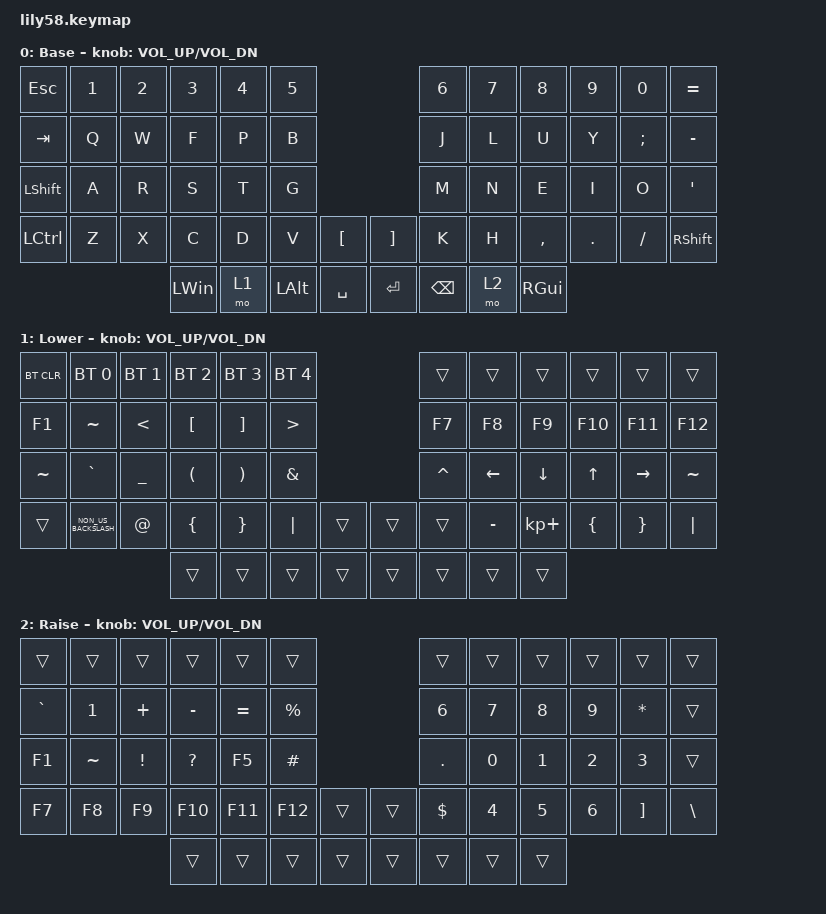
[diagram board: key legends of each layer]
/*
 * Copyright (c) 2020 The ZMK Contributors
 *
 * SPDX-License-Identifier: MIT
 */

#include <behaviors.dtsi>
#include <dt-bindings/zmk/bt.h>
#include <dt-bindings/zmk/keys.h>

/ {
    keymap {
        compatible = "zmk,keymap";

        default_layer {
            // ------------------------------------------------------------------------------------------------------------
            // |  ESC  |  1  |  2  |  3   |  4   |  5   |                   |  6   |  7    |  8    |  9   |   0   |   `   |
            // |  TAB  |  Q  |  W  |  E   |  R   |  T   |                   |  Y   |  U    |  I    |  O   |   P   |   -   |
            // |  CTRL |  A  |  S  |  D   |  F   |  G   |                   |  H   |  J    |  K    |  L   |   ;   |   '   |
            // | SHIFT |  Z  |  X  |  C   |  V   |  B   |   "["  |  |  "]"  |  N   |  M    |  ,    |  .   |   /   | SHIFT |
            //                     | ALT  | GUI  | LOWER|  SPACE |  | ENTER | RAISE| BSPC  | GUI   |

            display-name = "Base";
            bindings = <
&kp ESC           &kp N1  &kp N2  &kp N3        &kp N4  &kp N5                               &kp N6         &kp N7  &kp N8     &kp N9   &kp N0         &kp EQUAL
&kp TAB           &kp Q   &kp W   &kp F         &kp P   &kp B                                &kp J          &kp L   &kp U      &kp Y    &kp SEMICOLON  &kp MINUS
&kp LEFT_SHIFT    &kp A   &kp R   &kp S         &kp T   &kp G                                &kp M          &kp N   &kp E      &kp I    &kp O          &kp SQT
&kp LEFT_CONTROL  &kp Z   &kp X   &kp C         &kp D   &kp V         &kp LBKT     &kp RBKT  &kp K          &kp H   &kp COMMA  &kp DOT  &kp FSLH       &kp RSHFT
                                  &kp LEFT_WIN  &mo 1   &kp LEFT_ALT  &kp SPACE    &kp RET   &kp BACKSPACE  &mo 2   &kp RGUI
            >;

            sensor-bindings = <&inc_dec_kp C_VOL_UP C_VOL_DN>;
        };

        lower_layer {
            // ------------------------------------------------------------------------------------------------------------
            // | BTCLR | BT1 | BT2 |  BT3 |  BT4 |  BT5 |                   |      |       |       |      |       |       |
            // |  F1   |  F2 |  F3 |  F4  |  F5  |  F6  |                   |  F7  |  F8   |  F9   |  F10 |  F11  |  F12  |
            // |   `   |  !  |  @  |  #   |  $   |  %   |                   |  ^   |  &    |  *    |  (   |   )   |   ~   |
            // |       |     |     |      |      |      |        |  |       |      |  _    |  +    |  {   |   }   |  "|"  |
            //                     |      |      |      |        |  |       |      |       |       |

            display-name = "Lower";
            bindings = <
&bt BT_CLR  &bt BT_SEL 0          &bt BT_SEL 1    &bt BT_SEL 2          &bt BT_SEL 3           &bt BT_SEL 4                        &trans     &trans          &trans          &trans        &trans     &trans
&kp F1      &kp TILDE             &kp LESS_THAN   &kp LEFT_BRACKET      &kp RIGHT_BRACKET      &kp GREATER_THAN                    &kp F7     &kp F8          &kp F9          &kp F10       &kp F11    &kp F12
&kp TILDE   &kp GRAVE             &kp UNDERSCORE  &kp LEFT_PARENTHESIS  &kp RIGHT_PARENTHESIS  &kp AMPERSAND                       &kp CARET  &kp LEFT_ARROW  &kp DOWN_ARROW  &kp UP_ARROW  &kp RIGHT  &kp TILDE
&trans      &kp NON_US_BACKSLASH  &kp AT_SIGN     &kp LEFT_BRACE        &kp RIGHT_BRACE        &kp PIPE          &trans    &trans  &trans     &kp MINUS       &kp KP_PLUS     &kp LBRC      &kp RBRC   &kp PIPE
                                                  &trans                &trans                 &trans            &trans    &trans  &trans     &trans          &trans
            >;

            sensor-bindings = <&inc_dec_kp C_VOL_UP C_VOL_DN>;
        };

        raise_layer {
            // ------------------------------------------------------------------------------------------------------------
            // |       |     |     |      |      |      |                   |      |       |       |      |       |       |
            // |   `   |  1  |  2  |  3   |  4   |  5   |                   |  6   |   7   |   8   |  9   |   0   |       |
            // |   F1  |  F2 |  F3 |  F4  |  F5  |  F6  |                   |      |   <-  |   v   |  ^   |  ->   |       |
            // |   F7  |  F8 |  F9 |  F10 |  F11 |  F12 |        |  |       |  +   |   -   |   =   |  [   |   ]   |   \   |
            //                     |      |      |      |        |  |       |      |       |       |

            display-name = "Raise";
            bindings = <
&trans     &trans     &trans           &trans        &trans     &trans                         &trans      &trans        &trans        &trans        &trans        &trans
&kp GRAVE  &kp N1     &kp PLUS         &kp MINUS     &kp EQUAL  &kp PERCENT                    &kp N6      &kp N7        &kp N8        &kp N9        &kp ASTERISK  &trans
&kp F1     &kp TILDE  &kp EXCLAMATION  &kp QUESTION  &kp F5     &kp HASH                       &kp PERIOD  &kp N0        &kp NUMBER_1  &kp NUMBER_2  &kp NUMBER_3  &trans
&kp F7     &kp F8     &kp F9           &kp F10       &kp F11    &kp F12      &trans    &trans  &kp DOLLAR  &kp NUMBER_4  &kp N5        &kp NUMBER_6  &kp RBKT      &kp BSLH
                                       &trans        &trans     &trans       &trans    &trans  &trans      &trans        &trans
            >;

            sensor-bindings = <&inc_dec_kp C_VOL_UP C_VOL_DN>;
        };

        extra_1 { status = "reserved"; };

        extra_2 { status = "reserved"; };

        extra_3 { status = "reserved"; };
    };
};
